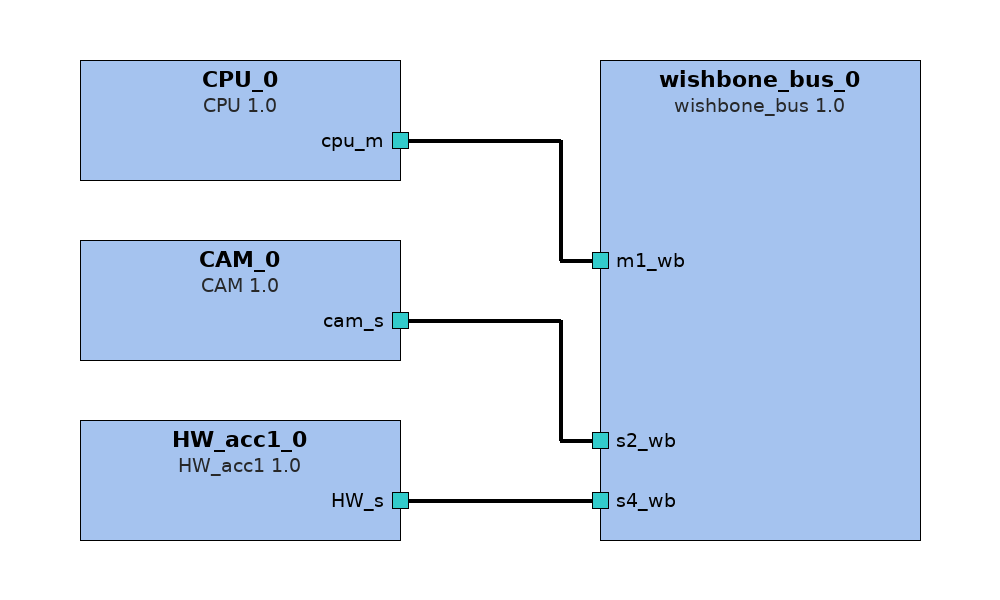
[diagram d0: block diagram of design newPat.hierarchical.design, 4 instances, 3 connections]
<?xml version="1.0" encoding="UTF-8"?>
<!-- Created by Kactus2 - Open source IP-Xact toolset -->
<!-- http://sourceforge.net/projects/kactus2/ -->
<!-- Date: 29.10.2012 -->
<!-- Time: 11:18:57 -->
<spirit:design xmlns:kactus2="http://funbase.cs.tut.fi/" xmlns:spirit="http://www.spiritconsortium.org/XMLSchema/SPIRIT/1.5" xmlns:xsi="http://www.w3.org/2001/XMLSchema-instance" xsi:schemaLocation="http://www.spiritconsortium.org/XMLSchema/SPIRIT/1.5 http://www.spiritconsortium.org/XMLSchema/SPIRIT/1.5/index.xsd"><spirit:vendor>TUM</spirit:vendor><spirit:library>soc</spirit:library><spirit:name>newPat.hierarchical.design</spirit:name>
 <spirit:version>1.0</spirit:version><spirit:componentInstances>
 <spirit:componentInstance><spirit:instanceName>wishbone_bus_0</spirit:instanceName><spirit:componentRef spirit:vendor="TUM" spirit:library="soc" spirit:name="wishbone_bus" spirit:version="1.0"/></spirit:componentInstance>
 <spirit:componentInstance><spirit:instanceName>HW_acc1_0</spirit:instanceName><spirit:componentRef spirit:vendor="TUM" spirit:library="soc" spirit:name="HW_acc1" spirit:version="1.0"/></spirit:componentInstance>
 <spirit:componentInstance><spirit:instanceName>CAM_0</spirit:instanceName><spirit:componentRef spirit:vendor="TUM" spirit:library="soc" spirit:name="CAM" spirit:version="1.0"/></spirit:componentInstance>
 <spirit:componentInstance><spirit:instanceName>CPU_0</spirit:instanceName><spirit:componentRef spirit:vendor="TUM" spirit:library="soc" spirit:name="CPU" spirit:version="1.0"/></spirit:componentInstance>
</spirit:componentInstances><spirit:interconnections>
 <spirit:interconnection><spirit:name>HW_acc1_0_HW_s_to_wishbone_bus_0_s4_wb</spirit:name><spirit:activeInterface spirit:componentRef="HW_acc1_0" spirit:busRef="HW_s"/><spirit:activeInterface spirit:componentRef="wishbone_bus_0" spirit:busRef="s4_wb"/></spirit:interconnection>
 <spirit:interconnection><spirit:name>CAM_0_cam_s_to_wishbone_bus_0_s2_wb</spirit:name><spirit:activeInterface spirit:componentRef="CAM_0" spirit:busRef="cam_s"/><spirit:activeInterface spirit:componentRef="wishbone_bus_0" spirit:busRef="s2_wb"/></spirit:interconnection>
 <spirit:interconnection><spirit:name>CPU_0_cpu_m_to_wishbone_bus_0_m1_wb</spirit:name><spirit:activeInterface spirit:componentRef="CPU_0" spirit:busRef="cpu_m"/><spirit:activeInterface spirit:componentRef="wishbone_bus_0" spirit:busRef="m1_wb"/></spirit:interconnection>
</spirit:interconnections></spirit:design>

